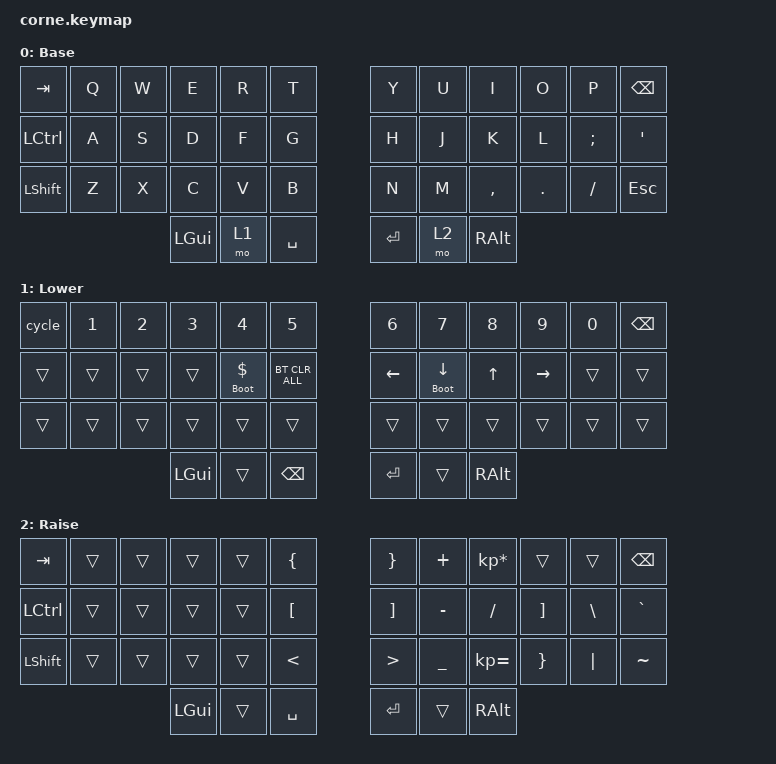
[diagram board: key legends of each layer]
/*
 * Copyright (c) 2020 The ZMK Contributors
 *
 * SPDX-License-Identifier: MIT
 */

#include <behaviors.dtsi>
#include <dt-bindings/zmk/bt.h>
#include <dt-bindings/zmk/keys.h>

/ {
    behaviors {
        R_HOLD_RESET: R_HOLD_RESET {
            compatible = "zmk,behavior-hold-tap";
            label = "R_HOLD_RESET";
            bindings = <&bootloader>, <&kp>;

            #binding-cells = <2>;
            tapping-term-ms = <3000>;
            flavor = "tap-preferred";
        };
    };

    combos {
        compatible = "zmk,combos";

        combo_copy {
            bindings = <&mt LGUI C>;
            key-positions = <26 27>;
        };

        combo_paste {
            bindings = <&mt LGUI V>;
            key-positions = <26 28>;
        };
    };

    macros {
        cycle: cycle {
            compatible = "zmk,behavior-macro";
            #binding-cells = <0>;
            bindings = <&kp LG(GRAVE)>;
            label = "CYCLE";
        };
    };

    keymap {
        compatible = "zmk,keymap";

        default_layer {
            // -----------------------------------------------------------------------------------------
            // |  TAB |  Q  |  W  |  E  |  R  |  T  |   |  Y  |  U   |  I  |  O  |  P  | BKSP |
            // | CTRL |  A  |  S  |  D  |  F  |  G  |   |  H  |  J   |  K  |  L  |  ;  |  '   |
            // | SHFT |  Z  |  X  |  C  |  V  |  B  |   |  N  |  M   |  ,  |  .  |  /  | ESC  |
            //                    | GUI | LWR | SPC |   | ENT | RSE  | ALT |

            display-name = "Base";
            bindings = <
&kp TAB    &kp Q  &kp W  &kp E     &kp R  &kp T        &kp Y    &kp U  &kp I      &kp O    &kp P     &kp BSPC
&kp LCTRL  &kp A  &kp S  &kp D     &kp F  &kp G        &kp H    &kp J  &kp K      &kp L    &kp SEMI  &kp SQT
&kp LSHFT  &kp Z  &kp X  &kp C     &kp V  &kp B        &kp N    &kp M  &kp COMMA  &kp DOT  &kp FSLH  &kp ESC
                         &kp LGUI  &mo 1  &kp SPACE    &kp RET  &mo 2  &kp RALT
            >;
        };

        lower_layer {
            // -----------------------------------------------------------------------------------------
            // |  TAB |  1  |  2  |  3  |  4  |  5  |   |  6  |  7  |  8  |  9  |  0  | BKSP |
            // |  TAB |  !  |  @  |  #  |  $  |  %  |   |  ^  |  &  |  *  |  (  |  )  | BKSP |
            // | SHFT |     |     |     |     |     |   |     |     |     |     |     |      |
            //                    | GUI |     | SPC |   | ENT |     | ALT |

            display-name = "Lower";
            bindings = <
&cycle  &kp N1  &kp N2  &kp N3    &kp N4                  &kp N5            &kp N6    &kp N7                      &kp N8        &kp N9     &kp N0  &kp BSPC
&trans  &trans  &trans  &trans    &R_HOLD_RESET 0 DOLLAR  &bt BT_CLR_ALL    &kp LEFT  &R_HOLD_RESET 0 DOWN_ARROW  &kp UP_ARROW  &kp RIGHT  &trans  &trans
&trans  &trans  &trans  &trans    &trans                  &trans            &trans    &trans                      &trans        &trans     &trans  &trans
                        &kp LGUI  &trans                  &kp BACKSPACE     &kp RET   &trans                      &kp RALT
            >;
        };

        raise_layer {
            // -----------------------------------------------------------------------------------------
            // |  TAB |  !  |  @  |  #  |  $  |  %  |   |  ^  |  &  |  *  |  (  |  )  | BKSP |
            // | CTRL |     |     |     |     |     |   |  -  |  =  |  [  |  ]  |  \  |  `   |
            // | SHFT |     |     |     |     |     |   |  _  |  +  |  {  |  }  | "|" |  ~   |
            //                    | GUI |     | SPC |   | ENT |     | ALT |

            display-name = "Raise";
            bindings = <
&kp TAB    &trans  &trans  &trans    &trans  &kp LEFT_BRACE      &kp RIGHT_BRACE   &kp PLUS        &kp KP_MULTIPLY  &trans    &trans    &kp BSPC
&kp LCTRL  &trans  &trans  &trans    &trans  &kp LEFT_BRACKET    &kp RBKT          &kp MINUS       &kp FSLH         &kp RBKT  &kp BSLH  &kp GRAVE
&kp LSHFT  &trans  &trans  &trans    &trans  &kp LESS_THAN       &kp GREATER_THAN  &kp UNDERSCORE  &kp KP_EQUAL     &kp RBRC  &kp PIPE  &kp TILDE
                           &kp LGUI  &trans  &kp SPACE           &kp RET           &trans          &kp RALT
            >;
        };

        extra_1 { status = "reserved"; };

        extra_2 { status = "reserved"; };

        extra_3 { status = "reserved"; };
    };
};
